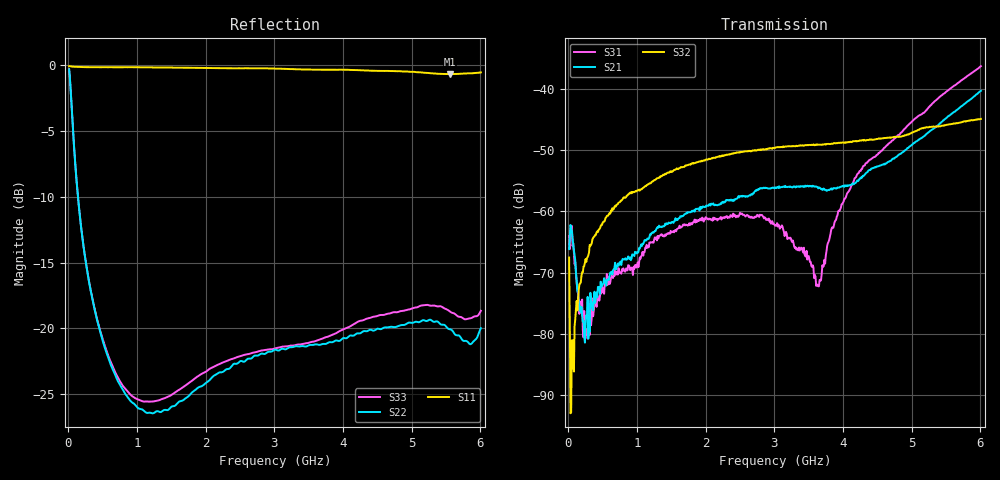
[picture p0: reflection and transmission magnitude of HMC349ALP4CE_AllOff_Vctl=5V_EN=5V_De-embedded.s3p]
! Device:	HMC349ALP4CE
! Description:	SOI MMIC SPDT Non-Reflective Switch
! Package:	LP4CE 16 pin 4x4 mm QFN Plastic Package
! Frequency:	DC -  4 GHz
! Ports:
! RFC = Port 1
! RF1 = Port 2
! RF2 = Port 3
! State: All Off
! Supply Voltage:
! Vdd = +5 V
! Control Voltages:
! Vctl  = +5 V
! EN  = +5 V
! Data:	Data was collected using a calibrated network analyzer with AFR software.
!	Fixtures were calculated using AFR and fixturing was applied to collect
!	this Deembedded  S Parameter data of HMC349ALP4CE.
! Note:	Analog Devices supplies this data as a sample of measured data at the package pin
!	for this product.  Your particular data for this product may vary.
!	Data was taken at 25 degrees C.
!	Analog Devices reserves the right to change this data at anytime.
# Hz S  dB  R 50
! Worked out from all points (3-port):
!   601 points, 10 MHz to 6.01 GHz, reference 50 ohm
!   strongest paths, dB at 10 MHz, 1.51 GHz, 3.01 GHz, 4.51 GHz, 6.01 GHz:
!     S32: -67.5, -53.5, -49.6, -48.1, -44.9
!     S21: -66.2, -61.8, -56.1, -52.6, -40.3
!     S31: -64.0, -63.3, -62.3, -50.7, -36.2
!   lowest |S11| = -0.7 dB at 5.56 GHz (marker M1), VSWR 26.19, Z = 2.04 - j13 ohm
!   |S11| at or under -10 dB: nowhere
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1e7  -0.06 -0.3  -64.05 48.6  -63.89 63.0
     -66.16 76.9  -0.31 -11.9  -73.88 -27.0
     -64.03 61.8  -67.53 -25.6  -0.30 -11.8
6e7  -0.09 -1.7  -63.06 -28.1  -64.47 -27.5
     -64.38 -24.7  -4.34 -49.4  -82.88 127.0
     -65.66 -22.7  -85.65 110.3  -4.33 -49.4
2.5e8  -0.13 -6.1  -76.01 30.8  -78.31 -13.2
       -78.34 31.6  -14.88 -69.1  -67.65 110.1
       -80.16 -6.5  -67.78 102.3  -14.85 -68.7
8.7e8  -0.14 -20.7  -67.60 75.3  -68.52 64.2
       -67.36 72.0  -25.30 -39.7  -57.31 86.0
       -68.80 64.8  -57.21 85.6  -24.86 -40.1
1.92e9  -0.19 -47.4  -59.44 86.7  -61.43 81.2
        -59.24 87.4  -24.45 12.0  -51.75 79.9
        -61.18 82.0  -51.83 79.7  -23.54 11.2
3.01e9  -0.24 -76.6  -56.09 88.6  -62.31 74.4
        -56.06 87.8  -21.63 29.9  -49.58 65.8
        -62.33 74.5  -49.62 65.9  -21.54 27.5
3.66e9  -0.32 -95.1  -56.17 92.8  -71.74 155.7
        -56.11 93.4  -21.27 28.1  -49.06 53.1
        -71.19 152.7  -49.07 52.7  -20.87 21.9
4.21e9  -0.36 -110.9  -55.01 120.7  -53.94 -167.5
        -54.93 121.5  -20.40 20.8  -48.53 40.8
        -53.89 -167.6  -48.52 40.8  -19.53 14.7
5.56e9  -0.66 -150.8  -44.25 144.7  -39.95 169.8
        -44.24 144.7  -20.08 -1.5  -45.74 7.6
        -39.97 169.7  -45.75 7.5  -18.75 -4.0
6.01e9  -0.53 -163.5  -40.28 140.1  -36.25 157.2
        -40.27 140.3  -20.00 -38.0  -44.88 -3.1
        -36.25 157.2  -44.88 -3.3  -18.67 -35.1
